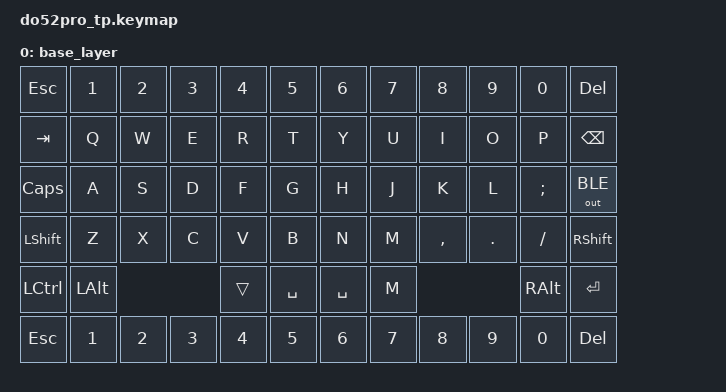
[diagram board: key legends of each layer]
#include <zephyr/dt-bindings/input/input-event-codes.h>
#include <dt-bindings/zmk/outputs.h>
#include <behaviors.dtsi>
#include <dt-bindings/zmk/bt.h>
#include <dt-bindings/zmk/keys.h>

#define HAS_MOUSE_KEYS
#define HAS_MOUSE_TP

#ifdef HAS_MOUSE_KEYS
  #include <dt-bindings/zmk/mouse.h>
  #include <behaviors/mouse_keys.dtsi>
#endif  // HAS_MOUSE_KEYS

#ifdef HAS_MOUSE_TP
  // We store the trackpoint settings in a separate file
  // to make organization a little easier.
  #include "include/mouse_tp.dtsi"
#endif  // HAS_MOUSE_TP

/ {
    keymap {
        compatible = "zmk,keymap";

        base_layer {
            bindings = <
&kp ESCAPE    &kp N1          &kp N2             &kp N3            &kp N4           &kp N5      &kp N6     &kp N7    &kp N8      &kp N9   &kp N0         &kp DELETE
&kp TAB       &kp Q           &kp W              &kp E             &kp R            &kp T       &kp Y      &kp U     &kp I       &kp O    &kp P          &kp BSPC
&kp CAPSLOCK  &kp A           &kp S              &kp D             &kp F            &kp G       &kp H      &kp J     &kp K       &kp L    &kp SEMI       &out OUT_BLE
&kp LSHFT     &kp Z           &kp X              &kp C             &kp V            &kp B       &kp N      &kp M     &kp COMMA   &kp DOT  &kp FSLH       &kp RSHFT
&kp LCTRL     &kp LEFT_ALT                                         &trans           &kp SPACE   &kp SPACE  &kp M                          &kp RIGHT_ALT  &kp ENTER
&kp ESCAPE    &kp N1          &kp N2             &kp N3            &kp N4           &kp N5      &kp N6     &kp N7    &kp N8      &kp N9   &kp N0         &kp DELETE
            >;
        };
    };
};
